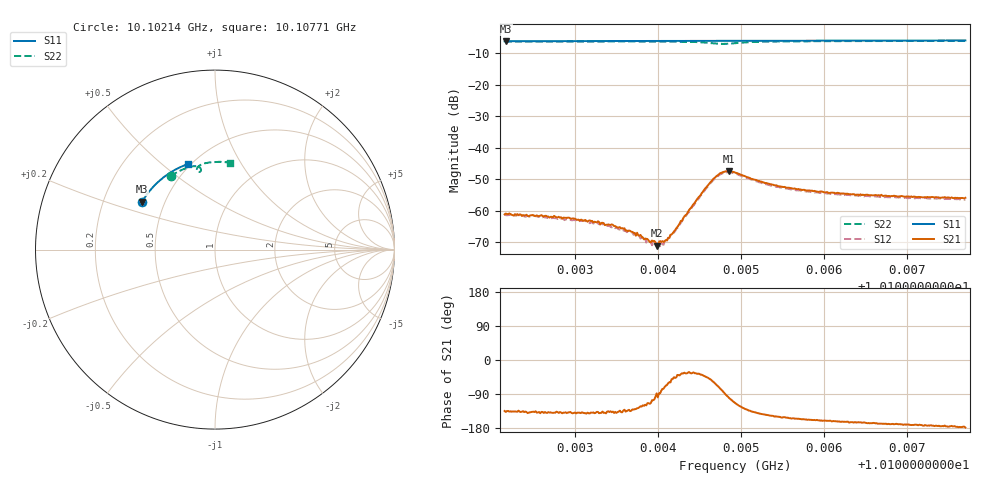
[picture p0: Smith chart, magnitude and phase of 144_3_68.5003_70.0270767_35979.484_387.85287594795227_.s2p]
#  HZ  S  RI  R  50.00
! Rohde & Schwarz Vector Network Analyzer
! Rohde-Schwarz,ZNB20-2Port,1311601062101988,3.16
! Created: UTC 3/20/2024, 4:55:00 PM
! freq[Hz]  re:S11  im:S11  re:S21  im:S21  re:S12  im:S12  re:S22  im:S22
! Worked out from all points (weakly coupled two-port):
!   401 points, 10.10214 GHz to 10.10771 GHz, reference 50 ohm
!   highest |S21| = -47.51 dB at 10.10486 GHz (marker M1); lowest = -71.1 dB at 10.10398 GHz (marker M2)
!   lowest |S11| = -6.3 dB at 10.10216 GHz (marker M3), VSWR 2.89, Z = 18.7 + j13 ohm
!   |S11| at or under -10 dB: nowhere
!   |S22| runs from -7.1 to -6.2 dB; largest |S21 - S12| = 0.00042
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1.0102145e10  -0.4064 0.2661  -0.000611 -0.000621  -0.000577 -0.000668  -0.247 0.4094
1.0102158e10  -0.4059 0.2667  -0.00066 -0.000612  -0.000548 -0.000646  -0.2462 0.4099
1.010277e10  -0.3857 0.2981  -0.000567 -0.00054  -0.000515 -0.000558  -0.2117 0.4308
1.0103076e10  -0.3748 0.3133  -0.000535 -0.000477  -0.000497 -0.000469  -0.1936 0.44
1.0103452e10  -0.3606 0.331  -0.000429 -0.000412  -0.000384 -0.000406  -0.1701 0.4503
1.010366e10  -0.3524 0.3408  -0.000337 -0.000338  -0.000294 -0.000348  -0.1566 0.4554
1.0103897e10  -0.3426 0.3514  -0.000137 -0.000288  -0.0001 -0.000304  -0.1401 0.4606
1.010398e10  -0.3392 0.3551  9.38e-06 -0.000279  1.53e-05 -0.00028  -0.1341 0.4622
1.0104008e10  -0.338 0.3563  1.34e-05 -0.000315  5.18e-05 -0.000292  -0.132 0.4626
1.0104077e10  -0.3352 0.3592  0.000107 -0.00031  0.000128 -0.000297  -0.1267 0.4638
1.0104133e10  -0.3327 0.3618  0.000194 -0.000319  0.000239 -0.000277  -0.1221 0.4645
1.0104202e10  -0.3296 0.3647  0.000332 -0.000359  0.000357 -0.000309  -0.1164 0.465
1.0104453e10  -0.3187 0.3752  0.00117 -0.000815  0.00119 -0.000666  -0.0929 0.4626
1.0104661e10  -0.3093 0.3834  0.00171 -0.00266  0.00187 -0.00239  -0.0778 0.444
1.0104759e10  -0.3049 0.3874  0.00082 -0.00388  0.00114 -0.00365  -0.0844 0.4331
1.0104856e10  -0.3004 0.3909  -0.000774 -0.00414  -0.000368 -0.00403  -0.0965 0.4351
1.0104926e10  -0.2973 0.3938  -0.00161 -0.00368  -0.00122 -0.00367  -0.1009 0.4425
1.010537e10  -0.2761 0.4105  -0.00218 -0.0014  -0.00198 -0.00153  -0.0745 0.4746
1.0105857e10  -0.2517 0.4271  -0.00193 -0.00077  -0.00175 -0.000877  -0.0392 0.4841
1.0106399e10  -0.2236 0.4441  -0.00174 -0.000473  -0.00163 -0.00061  -0.00227 0.4882
1.0106789e10  -0.2026 0.455  -0.00167 -0.00032  -0.00156 -0.000467  0.0235 0.4889
1.0107707e10  -0.1515 0.4765  -0.0016 -5.04e-05  -0.00148 -0.000212  0.0828 0.4848
